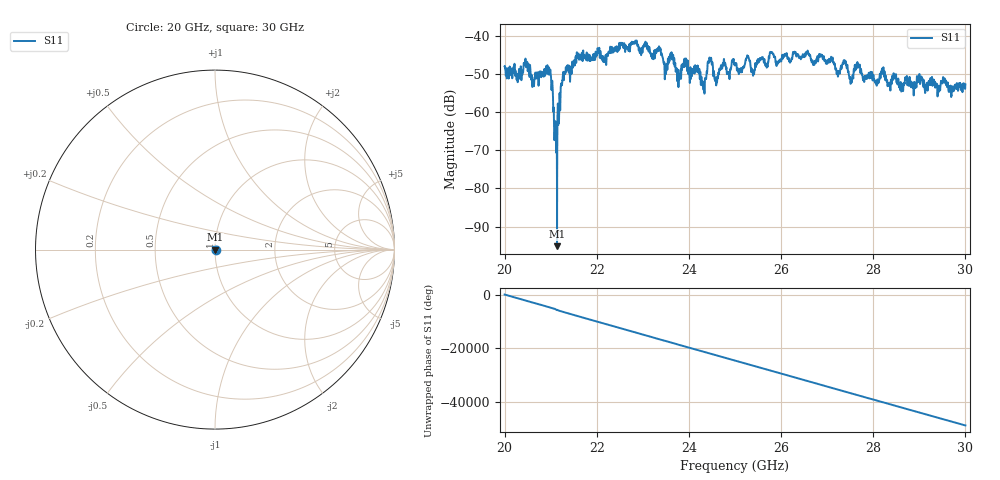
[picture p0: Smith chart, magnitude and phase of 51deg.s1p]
#  HZ  S  RI  R  50.00
! Rohde & Schwarz ZVA40 4Ports - Version 3.90 - 1145.1110k42 SN: 100403
! Date: 2023-10-03 12:56:46
! Measurement: S12
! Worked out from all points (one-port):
!   5001 points, 20 GHz to 30 GHz, reference 50 ohm
!   lowest |S11| = -95.1 dB at 21.14 GHz (marker M1), VSWR 1.00, Z = 50 + j0.00116 ohm
!   |S11| at or under -10 dB: start of sweep to end of sweep
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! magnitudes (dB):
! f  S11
! 20 GHz  -48.0
! 20.48 GHz  -47.9
! 20.61 GHz  -52.3
! 20.95 GHz  -49.6
! 21.02 GHz  -54.1
! 21.1 GHz  -63.2
! 21.14 GHz  -95.1
! 21.25 GHz  -52.0
! 21.58 GHz  -45.8
! 22.5 GHz  -43.5
! 23.34 GHz  -43.4
! 23.49 GHz  -47.5
! 23.64 GHz  -46.2
! 23.75 GHz  -51.9
! 23.93 GHz  -47.5
! 24.3 GHz  -52.4
! 24.45 GHz  -46.2
! 24.6 GHz  -52.3
! 25 GHz  -47.8
! 26.25 GHz  -45.1
! 26.87 GHz  -45.1
! 27.23 GHz  -50.6
! 27.37 GHz  -47.3
! 27.5 GHz  -50.9
! 27.65 GHz  -47.9
! 28.08 GHz  -53.1
! 28.75 GHz  -51.8
! 30 GHz  -52.7
